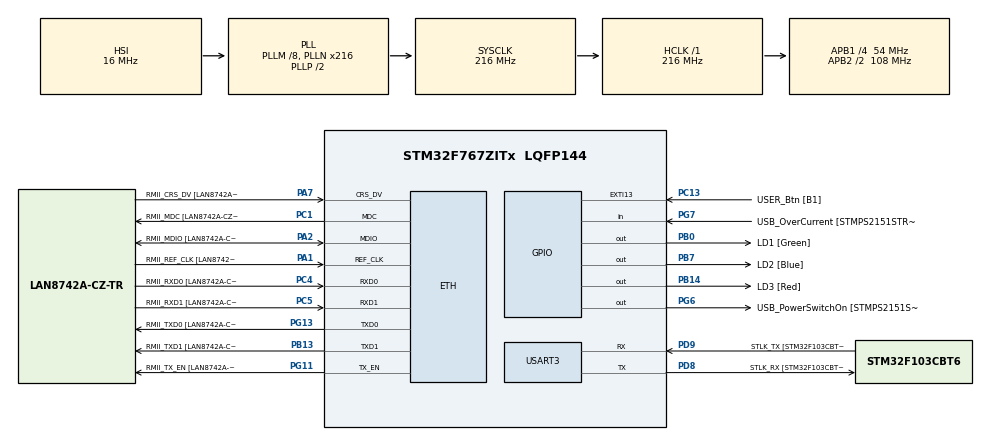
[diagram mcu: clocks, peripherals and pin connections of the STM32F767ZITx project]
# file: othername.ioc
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CORTEX_M7.CPU_ICache=Enabled
ETH.MediaInterface=HAL_ETH_RMII_MODE
LWIP.BSP.number=1
LWIP.Version=v2.1.2_Cube
LWIP0.BSP.STBoard=false
LWIP0.BSP.api=BSP_COMPONENT_DRIVER
LWIP0.BSP.component=LAN8742
LWIP0.BSP.instance=LAN8742
LWIP0.BSP.name=Driver_PHY
LWIP0.BSP.semaphore=S_LAN8742
LWIP0.BSP.solution=LAN8742
Mcu.Family=STM32F7
Mcu.Name=STM32F767ZITx
Mcu.Package=LQFP144
NVIC.PriorityGroup=NVIC_PRIORITYGROUP_4
PA1.GPIO_Label=RMII_REF_CLK [LAN8742A-CZ-TR_REFCLK0]
PA1.Mode=RMII
PA1.Signal=ETH_REF_CLK
PA10.GPIO_Label=USB_ID
PA10.Signal=USB_OTG_FS_ID
PA11.GPIO_Label=USB_DM
PA11.Signal=USB_OTG_FS_DM
PA12.GPIO_Label=USB_DP
PA12.Signal=USB_OTG_FS_DP
PA13.GPIO_Label=TMS
PA13.Signal=SYS_JTMS-SWDIO
PA14.GPIO_Label=TCK
PA14.Signal=SYS_JTCK-SWCLK
PA2.GPIO_Label=RMII_MDIO [LAN8742A-CZ-TR_MDIO]
PA2.Mode=RMII
PA2.Signal=ETH_MDIO
PA7.GPIO_Label=RMII_CRS_DV [LAN8742A-CZ-TR_CRS_DV]
PA7.Mode=RMII
PA7.Signal=ETH_CRS_DV
PA8.GPIO_Label=USB_SOF [TP1]
PA8.Signal=USB_OTG_FS_SOF
PA9.GPIO_Label=USB_VBUS
PA9.Signal=USB_OTG_FS_VBUS
PB0.GPIO_Label=LD1 [Green]
PB0.Signal=GPIO_Output
PB13.GPIO_Label=RMII_TXD1 [LAN8742A-CZ-TR_TXD1]
PB13.Mode=RMII
PB13.Signal=ETH_TXD1
PB14.GPIO_Label=LD3 [Red]
PB14.Signal=GPIO_Output
PB3.GPIO_Label=SW0
PB3.Signal=SYS_JTDO-SWO
PB7.GPIO_Label=LD2 [Blue]
PB7.Signal=GPIO_Output
PC1.GPIO_Label=RMII_MDC [LAN8742A-CZ-TR_MDC]
PC1.Mode=RMII
PC1.Signal=ETH_MDC
PC13.GPIO_Label=USER_Btn [B1]
PC13.Signal=GPXTI13
PC14/OSC32_IN.Signal=RCC_OSC32_IN
PC15/OSC32_OUT.Signal=RCC_OSC32_OUT
PC4.GPIO_Label=RMII_RXD0 [LAN8742A-CZ-TR_RXD0]
PC4.Mode=RMII
PC4.Signal=ETH_RXD0
PC5.GPIO_Label=RMII_RXD1 [LAN8742A-CZ-TR_RXD1]
PC5.Mode=RMII
PC5.Signal=ETH_RXD1
PD8.GPIO_Label=STLK_RX [STM32F103CBT6_PA3]
PD8.Mode=Asynchronous
PD8.Signal=USART3_TX
PD9.GPIO_Label=STLK_TX [STM32F103CBT6_PA2]
PD9.Mode=Asynchronous
PD9.Signal=USART3_RX
PG11.GPIO_Label=RMII_TX_EN [LAN8742A-CZ-TR_TXEN]
PG11.Mode=RMII
PG11.Signal=ETH_TX_EN
PG13.GPIO_Label=RMII_TXD0 [LAN8742A-CZ-TR_TXD0]
PG13.Mode=RMII
PG13.Signal=ETH_TXD0
PG6.GPIO_Label=USB_PowerSwitchOn [STMPS2151STR_EN]
PG6.Signal=GPIO_Output
PG7.GPIO_Label=USB_OverCurrent [STMPS2151STR_FAULT]
PG7.Signal=GPIO_Input
PH0/OSC_IN.GPIO_Label=MCO [STM32F103CBT6_PA8]
PH0/OSC_IN.Signal=RCC_OSC_IN
PH1/OSC_OUT.Signal=RCC_OSC_OUT
ProjectManager.HeapSize=0x200
ProjectManager.StackSize=0x400
ProjectManager.TargetToolchain=STM32CubeIDE
RCC.48MHZClocksFreq_Value=24000000
RCC.AHBFreq_Value=216000000
RCC.APB1CLKDivider=RCC_HCLK_DIV4
RCC.APB1Freq_Value=54000000
RCC.APB1TimFreq_Value=108000000
RCC.APB2CLKDivider=RCC_HCLK_DIV2
RCC.APB2Freq_Value=108000000
RCC.APB2TimFreq_Value=216000000
RCC.CortexFreq_Value=216000000
RCC.HCLKFreq_Value=216000000
RCC.HSE_VALUE=16000000
RCC.HSI_VALUE=16000000
RCC.LSE_VALUE=32768
RCC.PLLM=8
RCC.PLLMUL=RCC_PLL_MUL9
RCC.PLLN=216
RCC.PRESCALERUSB=RCC_USBCLKSOURCE_PLL_DIV1_5
RCC.SYSCLKFreq_VALUE=216000000
RCC.SYSCLKSource=RCC_SYSCLKSOURCE_PLLCLK
RCC.SYSCLKSourceVirtual=RCC_SYSCLKSOURCE_PLLCLK
RCC.USBFreq_Value=216000000
RCC.VCOOutputFreq_Value=432000000
USART3.VirtualMode-Asynchronous=VM_ASYNC
VP_LWIP_VS_Enabled.Mode=Enabled
board=NUCLEO-F767ZI

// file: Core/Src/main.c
/* USER CODE BEGIN Header */
/**
  ******************************************************************************
  * @file           : main.c
  * @brief          : Main program body
  ******************************************************************************
  * @attention
  *
  * Copyright (c) 2026 STMicroelectronics.
  * All rights reserved.
  *
  * This software is licensed under terms that can be found in the LICENSE file
  * in the root directory of this software component.
  * If no LICENSE file comes with this software, it is provided AS-IS.
  *
  ******************************************************************************
  */
/* USER CODE END Header */
#include "main.h"
#include "lwip.h"

/* USER CODE BEGIN Includes */
#include "lwip/netif.h"
#include "lwip/ip_addr.h"
#include "lwip/dhcp.h"
#include <stdio.h>
#include "lwip/apps/mqtt.h"
#include "stdio.h"
#include "string.h"
/* USER CODE END Includes */

UART_HandleTypeDef huart3;

/* USER CODE BEGIN PV */
extern struct netif gnetif;
extern volatile unsigned long eth_rx_count;

mqtt_client_t *mqtt_client;
ip_addr_t broker_ip;
uint8_t mqtt_connected = 0;
/* USER CODE END PV */

/* USER CODE BEGIN PFP */
void SystemClock_Config(void);
static void MX_GPIO_Init(void);
static void MX_USART3_UART_Init(void);
static char mqtt_rx_topic[64];

static void mqtt_sub_request_cb(void *arg, err_t result);
static void mqtt_incoming_publish_cb(void *arg, const char *topic, u32_t tot_len);
static void mqtt_incoming_data_cb(void *arg, const u8_t *data, u16_t len, u8_t flags);
/* USER CODE END PFP */

/* USER CODE BEGIN 0 */
static void mqtt_connection_cb(mqtt_client_t *client, void *arg, mqtt_connection_status_t status)
{
    if (status == MQTT_CONNECT_ACCEPTED)
    {
        mqtt_connected = 1;
        printf("MQTT connected\r\n");

        mqtt_set_inpub_callback(client,
                                mqtt_incoming_publish_cb,
                                mqtt_incoming_data_cb,
                                NULL);

        err_t sub_err = mqtt_subscribe(client,
                                       "home/stm32/cmd",
                                       0,
                                       mqtt_sub_request_cb,
                                       NULL);

        printf("mqtt_subscribe returned: %d\r\n", sub_err);
    }
    else
    {
        mqtt_connected = 0;
        printf("MQTT failed: %d\r\n", status);
    }
}

static void mqtt_pub_cb(void *arg, err_t result)
{
    printf("Publish result: %d\r\n", result);
}

static void mqtt_sub_request_cb(void *arg, err_t result)
{
    printf("Subscribe result: %d\r\n", result);
}

static void mqtt_incoming_publish_cb(void *arg, const char *topic, u32_t tot_len)
{
    printf("Incoming topic: %s, len: %lu\r\n", topic, tot_len);

    strncpy(mqtt_rx_topic, topic, sizeof(mqtt_rx_topic) - 1);
    mqtt_rx_topic[sizeof(mqtt_rx_topic) - 1] = '\0';
}

static void mqtt_incoming_data_cb(void *arg, const u8_t *data, u16_t len, u8_t flags)
{
    char msg[64];

    if (len >= sizeof(msg))
        len = sizeof(msg) - 1;

    memcpy(msg, data, len);
    msg[len] = '\0';

    printf("MQTT RX: %s\r\n", msg);

    if (strcmp(mqtt_rx_topic, "home/stm32/cmd") == 0)
    {
        if (strcmp(msg, "LED_ON") == 0)
        {
            HAL_GPIO_WritePin(GPIOB, LD1_Pin, GPIO_PIN_SET);
            printf("LED ON\r\n");
        }
        else if (strcmp(msg, "LED_OFF") == 0)
        {
            HAL_GPIO_WritePin(GPIOB, LD1_Pin, GPIO_PIN_RESET);
            printf("LED OFF\r\n");
        }
    }
}

static void mqtt_start(void)
{
    IP4_ADDR(&broker_ip, 192, 168, 1, 251); // Your PC Mosquitto broker IP

    mqtt_client = mqtt_client_new();

    if (mqtt_client == NULL)
    {
        printf("mqtt_client_new failed\r\n");
        return;
    }

    struct mqtt_connect_client_info_t ci;
    memset(&ci, 0, sizeof(ci));

    ci.client_id = "stm32_f767";
    ci.keep_alive = 60;

    printf("Connecting MQTT...\r\n");

    err_t err = mqtt_client_connect(mqtt_client,
                                    &broker_ip,
                                    1883,
                                    mqtt_connection_cb,
                                    NULL,
                                    &ci);

    printf("mqtt_client_connect returned: %d\r\n", err);

    if (err != ERR_OK)
    {
        printf("MQTT connect start failed\r\n");

        mqtt_client_free(mqtt_client);
        mqtt_client = NULL;
    }
}

static void mqtt_publish_test(void)
{
	const char *msg = "hello from STM32";

	    if (mqtt_client != NULL && mqtt_client_is_connected(mqtt_client))
	    {
	        err_t err = mqtt_publish(mqtt_client,
	                                 "home/stm32/test",
	                                 msg,
	                                 strlen(msg),
	                                 0,
	                                 0,
	                                 mqtt_pub_cb,
	                                 NULL);

	        if (err != ERR_OK)
	        {
	            printf("mqtt_publish returned: %d\r\n", err);
	        }
	    }
}
/* USER CODE END 0 */

int main(void)
{

  /* Enable the CPU Cache */

  /* Enable I-Cache---------------------------------------------------------*/
//  SCB_EnableICache();

  /* MCU Configuration--------------------------------------------------------*/

  /* Reset of all peripherals, Initializes the Flash interface and the Systick. */
  HAL_Init();

  /* Configure the system clock */
  SystemClock_Config();

  /* Initialize all configured peripherals */

  /* USER CODE BEGIN 2 */
  MX_GPIO_Init();
  MX_USART3_UART_Init();

  printf("BOOT OK\r\n");

  MX_LWIP_Init();

  printf("AFTER LWIP\r\n");
  /* USER CODE END 2 */

  /* Infinite loop */
  while (1)
  {
  /* USER CODE BEGIN WHILE */
	  MX_LWIP_Process();

	      static uint32_t lastMqtt = 0;
	      static uint8_t mqtt_started = 0;

	      if (!mqtt_started && !ip4_addr_isany_val(*netif_ip4_addr(&gnetif)))
	      {
	          mqtt_started = 1;
	          printf("IP ready, starting MQTT\r\n");
	          mqtt_start();
	      }

	      if (HAL_GetTick() - lastMqtt > 3000)
	      {
	          lastMqtt = HAL_GetTick();
	          mqtt_publish_test();
	      }
    /* USER CODE END WHILE */

  }
}

void SystemClock_Config(void)
{
  RCC_OscInitTypeDef RCC_OscInitStruct = {0};
  RCC_ClkInitTypeDef RCC_ClkInitStruct = {0};

  /** Configure the main internal regulator output voltage
  */
  __HAL_RCC_PWR_CLK_ENABLE();
  __HAL_PWR_VOLTAGESCALING_CONFIG(PWR_REGULATOR_VOLTAGE_SCALE1);

  /** Initializes the RCC Oscillators according to the specified parameters
  * in the RCC_OscInitTypeDef structure.
  */
  RCC_OscInitStruct.OscillatorType = RCC_OSCILLATORTYPE_HSI;
  RCC_OscInitStruct.HSIState = RCC_HSI_ON;
  RCC_OscInitStruct.HSICalibrationValue = RCC_HSICALIBRATION_DEFAULT;
  RCC_OscInitStruct.PLL.PLLState = RCC_PLL_ON;
  RCC_OscInitStruct.PLL.PLLSource = RCC_PLLSOURCE_HSI;
  RCC_OscInitStruct.PLL.PLLM = 8;
  RCC_OscInitStruct.PLL.PLLN = 216;
  RCC_OscInitStruct.PLL.PLLP = RCC_PLLP_DIV2;
  RCC_OscInitStruct.PLL.PLLQ = 2;
  RCC_OscInitStruct.PLL.PLLR = 2;
  if (HAL_RCC_OscConfig(&RCC_OscInitStruct) != HAL_OK)
  {
    Error_Handler();
  }

  /** Activate the Over-Drive mode
  */
  if (HAL_PWREx_EnableOverDrive() != HAL_OK)
  {
    Error_Handler();
  }

  /** Initializes the CPU, AHB and APB buses clocks
  */
  RCC_ClkInitStruct.ClockType = RCC_CLOCKTYPE_HCLK|RCC_CLOCKTYPE_SYSCLK
                              |RCC_CLOCKTYPE_PCLK1|RCC_CLOCKTYPE_PCLK2;
  RCC_ClkInitStruct.SYSCLKSource = RCC_SYSCLKSOURCE_PLLCLK;
  RCC_ClkInitStruct.AHBCLKDivider = RCC_SYSCLK_DIV1;
  RCC_ClkInitStruct.APB1CLKDivider = RCC_HCLK_DIV4;
  RCC_ClkInitStruct.APB2CLKDivider = RCC_HCLK_DIV2;

  if (HAL_RCC_ClockConfig(&RCC_ClkInitStruct, FLASH_LATENCY_7) != HAL_OK)
  {
    Error_Handler();
  }
}

static void MX_USART3_UART_Init(void)
{

  huart3.Instance = USART3;
  huart3.Init.BaudRate = 115200;
  huart3.Init.WordLength = UART_WORDLENGTH_8B;
  huart3.Init.StopBits = UART_STOPBITS_1;
  huart3.Init.Parity = UART_PARITY_NONE;
  huart3.Init.Mode = UART_MODE_TX_RX;
  huart3.Init.HwFlowCtl = UART_HWCONTROL_NONE;
  huart3.Init.OverSampling = UART_OVERSAMPLING_16;
  huart3.Init.OneBitSampling = UART_ONE_BIT_SAMPLE_DISABLE;
  huart3.AdvancedInit.AdvFeatureInit = UART_ADVFEATURE_NO_INIT;
  if (HAL_UART_Init(&huart3) != HAL_OK)
  {
    Error_Handler();
  }

}

static void MX_GPIO_Init(void)
{
  GPIO_InitTypeDef GPIO_InitStruct = {0};

  /* GPIO Ports Clock Enable */
  __HAL_RCC_GPIOC_CLK_ENABLE();
  __HAL_RCC_GPIOH_CLK_ENABLE();
  __HAL_RCC_GPIOA_CLK_ENABLE();
  __HAL_RCC_GPIOB_CLK_ENABLE();
  __HAL_RCC_GPIOD_CLK_ENABLE();
  __HAL_RCC_GPIOG_CLK_ENABLE();

  /*Configure GPIO pin Output Level */
  HAL_GPIO_WritePin(GPIOB, LD1_Pin|LD3_Pin|LD2_Pin, GPIO_PIN_RESET);

  /*Configure GPIO pin Output Level */
  HAL_GPIO_WritePin(USB_PowerSwitchOn_GPIO_Port, USB_PowerSwitchOn_Pin, GPIO_PIN_RESET);

  /*Configure GPIO pin : USER_Btn_Pin */
  GPIO_InitStruct.Pin = USER_Btn_Pin;
  GPIO_InitStruct.Mode = GPIO_MODE_IT_RISING;
  GPIO_InitStruct.Pull = GPIO_NOPULL;
  HAL_GPIO_Init(USER_Btn_GPIO_Port, &GPIO_InitStruct);

  /*Configure GPIO pins : LD1_Pin LD3_Pin LD2_Pin */
  GPIO_InitStruct.Pin = LD1_Pin|LD3_Pin|LD2_Pin;
  GPIO_InitStruct.Mode = GPIO_MODE_OUTPUT_PP;
  GPIO_InitStruct.Pull = GPIO_NOPULL;
  GPIO_InitStruct.Speed = GPIO_SPEED_FREQ_LOW;
  HAL_GPIO_Init(GPIOB, &GPIO_InitStruct);

  /*Configure GPIO pin : USB_PowerSwitchOn_Pin */
  GPIO_InitStruct.Pin = USB_PowerSwitchOn_Pin;
  GPIO_InitStruct.Mode = GPIO_MODE_OUTPUT_PP;
  GPIO_InitStruct.Pull = GPIO_NOPULL;
  GPIO_InitStruct.Speed = GPIO_SPEED_FREQ_LOW;
  HAL_GPIO_Init(USB_PowerSwitchOn_GPIO_Port, &GPIO_InitStruct);

  /*Configure GPIO pin : USB_OverCurrent_Pin */
  GPIO_InitStruct.Pin = USB_OverCurrent_Pin;
  GPIO_InitStruct.Mode = GPIO_MODE_INPUT;
  GPIO_InitStruct.Pull = GPIO_NOPULL;
  HAL_GPIO_Init(USB_OverCurrent_GPIO_Port, &GPIO_InitStruct);

  /*Configure GPIO pins : USB_SOF_Pin USB_ID_Pin USB_DM_Pin USB_DP_Pin */
  GPIO_InitStruct.Pin = USB_SOF_Pin|USB_ID_Pin|USB_DM_Pin|USB_DP_Pin;
  GPIO_InitStruct.Mode = GPIO_MODE_AF_PP;
  GPIO_InitStruct.Pull = GPIO_NOPULL;
  GPIO_InitStruct.Speed = GPIO_SPEED_FREQ_VERY_HIGH;
  GPIO_InitStruct.Alternate = GPIO_AF10_OTG_FS;
  HAL_GPIO_Init(GPIOA, &GPIO_InitStruct);

  /*Configure GPIO pin : USB_VBUS_Pin */
  GPIO_InitStruct.Pin = USB_VBUS_Pin;
  GPIO_InitStruct.Mode = GPIO_MODE_INPUT;
  GPIO_InitStruct.Pull = GPIO_NOPULL;
  HAL_GPIO_Init(USB_VBUS_GPIO_Port, &GPIO_InitStruct);

}

/* USER CODE BEGIN 4 */
int _write(int file, char *ptr, int len)
{
    HAL_UART_Transmit(&huart3, (uint8_t*)ptr, len, HAL_MAX_DELAY);
    return len;
}
/* USER CODE END 4 */

void Error_Handler(void)
{
  __disable_irq();
  while (1)
  {
  }
}
